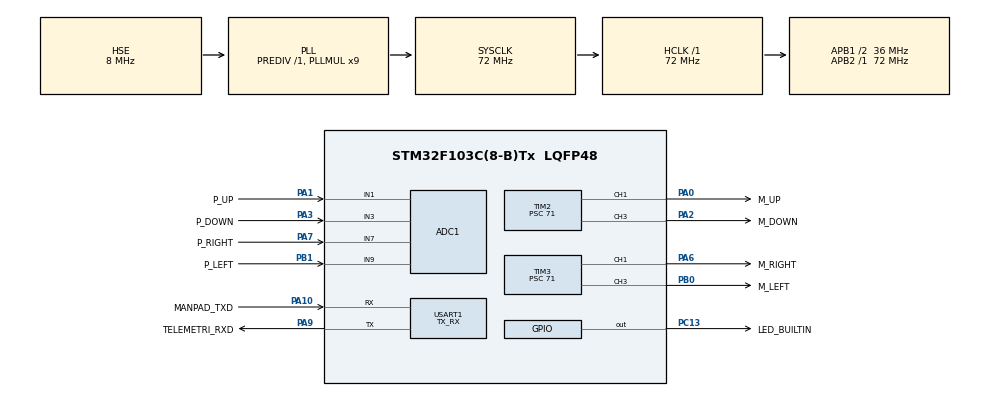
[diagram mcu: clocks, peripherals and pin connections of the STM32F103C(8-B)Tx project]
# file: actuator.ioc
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ADC1.Channel-0\#ChannelRegularConversion=ADC_CHANNEL_1
ADC1.Channel-5\#ChannelRegularConversion=ADC_CHANNEL_3
ADC1.Channel-6\#ChannelRegularConversion=ADC_CHANNEL_7
ADC1.Channel-7\#ChannelRegularConversion=ADC_CHANNEL_9
ADC1.ContinuousConvMode=DISABLE
ADC1.DataAlign=ADC_DATAALIGN_RIGHT
ADC1.DiscontinuousConvMode=DISABLE
ADC1.EnableAnalogWatchDog=false
ADC1.EnableRegularConversion=ENABLE
ADC1.ExternalTrigConv=ADC_EXTERNALTRIGCONV_T3_TRGO
ADC1.InjNumberOfConversion=0
ADC1.NbrOfConversion=4
ADC1.NbrOfConversionFlag=1
ADC1.Rank-0\#ChannelRegularConversion=1
ADC1.Rank-5\#ChannelRegularConversion=2
ADC1.Rank-6\#ChannelRegularConversion=3
ADC1.Rank-7\#ChannelRegularConversion=4
ADC1.SamplingTime-0\#ChannelRegularConversion=ADC_SAMPLETIME_41CYCLES_5
ADC1.SamplingTime-5\#ChannelRegularConversion=ADC_SAMPLETIME_41CYCLES_5
ADC1.SamplingTime-6\#ChannelRegularConversion=ADC_SAMPLETIME_41CYCLES_5
ADC1.SamplingTime-7\#ChannelRegularConversion=ADC_SAMPLETIME_41CYCLES_5
ADC1.ScanConvMode=ADC_SCAN_ENABLE
ADC1.master=1
Dma.ADC1.0.Direction=DMA_PERIPH_TO_MEMORY
Dma.ADC1.0.Instance=DMA1_Channel1
Dma.ADC1.0.MemDataAlignment=DMA_MDATAALIGN_HALFWORD
Dma.ADC1.0.MemInc=DMA_MINC_ENABLE
Dma.ADC1.0.Mode=DMA_CIRCULAR
Dma.ADC1.0.PeriphDataAlignment=DMA_PDATAALIGN_HALFWORD
Dma.ADC1.0.PeriphInc=DMA_PINC_DISABLE
Dma.ADC1.0.Priority=DMA_PRIORITY_MEDIUM
Dma.Request0=ADC1
Mcu.Family=STM32F1
Mcu.Name=STM32F103C(8-B)Tx
Mcu.Package=LQFP48
Mcu.UserConstants=SERVO_CENTER,1500;SERVO_MIN,1000;SERVO_MAX,2000;IWDG_1S,625;IWDG_10MS,6
NVIC.ADC1_2_IRQn=true\:3\:3\:true\:false\:true\:true
NVIC.DMA1_Channel1_IRQn=true\:0\:0\:false\:false\:true\:false
NVIC.PriorityGroup=NVIC_PRIORITYGROUP_2
NVIC.TIM3_IRQn=true\:2\:2\:true\:false\:true\:true
NVIC.USART1_IRQn=true\:0\:1\:false\:false\:true\:true
PA0-WKUP.GPIO_Label=M_UP
PA0-WKUP.GPIO_ModeDefaultPP=GPIO_MODE_AF_PP
PA0-WKUP.GPIO_Speed=GPIO_SPEED_FREQ_HIGH
PA0-WKUP.Signal=S_TIM2_CH1_ETR
PA1.GPIO_Label=P_UP
PA1.Signal=ADCx_IN1
PA10.GPIO_Label=MANPAD_TXD
PA10.GPIO_PuPd=GPIO_PULLUP
PA10.Mode=Asynchronous
PA10.Signal=USART1_RX
PA13.Mode=Serial_Wire
PA13.Signal=SYS_JTMS-SWDIO
PA14.Mode=Serial_Wire
PA14.Signal=SYS_JTCK-SWCLK
PA2.GPIO_Label=M_DOWN
PA2.GPIO_ModeDefaultPP=GPIO_MODE_AF_PP
PA2.GPIO_Speed=GPIO_SPEED_FREQ_HIGH
PA2.Signal=S_TIM2_CH3
PA3.GPIO_Label=P_DOWN
PA3.Signal=ADCx_IN3
PA6.GPIO_Label=M_RIGHT
PA6.GPIO_Speed=GPIO_SPEED_FREQ_HIGH
PA6.Signal=S_TIM3_CH1
PA7.GPIO_Label=P_RIGHT
PA7.Signal=ADCx_IN7
PA9.GPIO_Label=TELEMETRI_RXD
PA9.Mode=Asynchronous
PA9.Signal=USART1_TX
PB0.GPIO_Label=M_LEFT
PB0.GPIO_Speed=GPIO_SPEED_FREQ_HIGH
PB0.Signal=S_TIM3_CH3
PB1.GPIO_Label=P_LEFT
PB1.Signal=ADCx_IN9
PC13-TAMPER-RTC.GPIO_Label=LED_BUILTIN
PC13-TAMPER-RTC.GPIO_Speed=GPIO_SPEED_FREQ_HIGH
PC13-TAMPER-RTC.PinState=GPIO_PIN_SET
PC13-TAMPER-RTC.Signal=GPIO_Output
PD0-OSC_IN.Mode=HSE-External-Oscillator
PD0-OSC_IN.Signal=RCC_OSC_IN
PD1-OSC_OUT.Mode=HSE-External-Oscillator
PD1-OSC_OUT.Signal=RCC_OSC_OUT
ProjectManager.HeapSize=0x200
ProjectManager.StackSize=0x400
ProjectManager.TargetToolchain=TrueSTUDIO
RCC.ADCPresc=RCC_ADCPCLK2_DIV6
RCC.AHBFreq_Value=72000000
RCC.APB1CLKDivider=RCC_HCLK_DIV2
RCC.APB1Freq_Value=36000000
RCC.APB1TimFreq_Value=72000000
RCC.APB2Freq_Value=72000000
RCC.APB2TimFreq_Value=72000000
RCC.HCLKFreq_Value=72000000
RCC.PLLMUL=RCC_PLL_MUL9
RCC.PLLSourceVirtual=RCC_PLLSOURCE_HSE
RCC.SYSCLKFreq_VALUE=72000000
RCC.SYSCLKSource=RCC_SYSCLKSOURCE_PLLCLK
RCC.USBFreq_Value=48000000
RCC.USBPrescaler=RCC_USBCLKSOURCE_PLL_DIV1_5
SH.ADCx_IN1.0=ADC1_IN1,IN1
SH.ADCx_IN3.0=ADC1_IN3,IN3
SH.ADCx_IN7.0=ADC1_IN7,IN7
SH.ADCx_IN9.0=ADC1_IN9,IN9
SH.S_TIM2_CH1_ETR.0=TIM2_CH1,PWM Generation1 CH1
SH.S_TIM2_CH3.0=TIM2_CH3,PWM Generation3 CH3
SH.S_TIM3_CH1.0=TIM3_CH1,PWM Generation1 CH1
SH.S_TIM3_CH3.0=TIM3_CH3,PWM Generation3 CH3
TIM2.Channel-PWM\ Generation1\ CH1=TIM_CHANNEL_1
TIM2.Channel-PWM\ Generation2\ CH2=TIM_CHANNEL_2
TIM2.Channel-PWM\ Generation3\ CH3=TIM_CHANNEL_3
TIM2.Channel-PWM\ Generation4\ CH4=TIM_CHANNEL_4
TIM2.OCPolarity_1=TIM_OCPOLARITY_HIGH
TIM2.Period=19999
TIM2.Prescaler=71
TIM2.Pulse-PWM\ Generation1\ CH1=SERVO_CENTER
TIM2.Pulse-PWM\ Generation2\ CH2=SERVO_CENTER
TIM2.Pulse-PWM\ Generation3\ CH3=SERVO_CENTER
TIM2.Pulse-PWM\ Generation4\ CH4=SERVO_CENTER
TIM3.Channel-PWM\ Generation1\ CH1=TIM_CHANNEL_1
TIM3.Channel-PWM\ Generation3\ CH3=TIM_CHANNEL_3
TIM3.Period=19999
TIM3.Prescaler=71
TIM3.Pulse-PWM\ Generation1\ CH1=SERVO_CENTER
TIM3.Pulse-PWM\ Generation3\ CH3=SERVO_CENTER
TIM3.TIM_MasterOutputTrigger=TIM_TRGO_UPDATE
USART1.Mode=MODE_TX_RX
USART1.VirtualMode=VM_ASYNC
VP_TIM2_VS_ClockSourceINT.Mode=Internal
VP_TIM3_VS_ClockSourceINT.Mode=Internal
board=manpadActuatorDriver

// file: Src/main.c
/**
 ******************************************************************************
 * @file           : main.c
 * @brief          : Main program body
 ******************************************************************************
 ** This notice applies to any and all portions of this file
 * that are not between comment pairs USER CODE BEGIN and
 * USER CODE END. Other portions of this file, whether
 * inserted by the user or by software development tools
 * are owned by their respective copyright owners.
 *
 * COPYRIGHT(c) 2018 STMicroelectronics
 *
 * Redistribution and use in source and binary forms, with or without modification,
 * are permitted provided that the following conditions are met:
 *   1. Redistributions of source code must retain the above copyright notice,
 *      this list of conditions and the following disclaimer.
 *   2. Redistributions in binary form must reproduce the above copyright notice,
 *      this list of conditions and the following disclaimer in the documentation
 *      and/or other materials provided with the distribution.
 *   3. Neither the name of STMicroelectronics nor the names of its contributors
 *      may be used to endorse or promote products derived from this software
 *      without specific prior written permission.
 *
 * THIS SOFTWARE IS PROVIDED BY THE COPYRIGHT HOLDERS AND CONTRIBUTORS "AS IS"
 * AND ANY EXPRESS OR IMPLIED WARRANTIES, INCLUDING, BUT NOT LIMITED TO, THE
 * IMPLIED WARRANTIES OF MERCHANTABILITY AND FITNESS FOR A PARTICULAR PURPOSE ARE
 * DISCLAIMED. IN NO EVENT SHALL THE COPYRIGHT HOLDER OR CONTRIBUTORS BE LIABLE
 * FOR ANY DIRECT, INDIRECT, INCIDENTAL, SPECIAL, EXEMPLARY, OR CONSEQUENTIAL
 * DAMAGES (INCLUDING, BUT NOT LIMITED TO, PROCUREMENT OF SUBSTITUTE GOODS OR
 * SERVICES; LOSS OF USE, DATA, OR PROFITS; OR BUSINESS INTERRUPTION) HOWEVER
 * CAUSED AND ON ANY THEORY OF LIABILITY, WHETHER IN CONTRACT, STRICT LIABILITY,
 * OR TORT (INCLUDING NEGLIGENCE OR OTHERWISE) ARISING IN ANY WAY OUT OF THE USE
 * OF THIS SOFTWARE, EVEN IF ADVISED OF THE POSSIBILITY OF SUCH DAMAGE.
 *
 ******************************************************************************
 */
#include "main.h"
#include "stm32f1xx_hal.h"

/* USER CODE BEGIN Includes */
#include <string.h>
#include <stdlib.h>
/* USER CODE END Includes */

ADC_HandleTypeDef hadc1;
DMA_HandleTypeDef hdma_adc1;

TIM_HandleTypeDef htim2;
TIM_HandleTypeDef htim3;

UART_HandleTypeDef huart1;

/* USER CODE BEGIN PV */
/* Private variables ---------------------------------------------------------*/
/* TODO Private Variables */
#define USE_RAW_ADC						1

#define DEBUG							0
#if DEBUG
#define CMD_DEBUG						1
#endif	//if DEBUG

#define CMD_HEADER_CHAR					'$'
#define CMD_SEPARATOR_CHAR				','
#define CMD_TERMINATOR_CHAR				'*'
#define CMD_TIMEOUT						1000

#define UART_BUFSIZE					1024

typedef struct
{
	char buffer[UART_BUFSIZE];
	volatile uint16_t head;
	volatile uint16_t tail;
	uint16_t size;
} Ring_Buffer_t;

Ring_Buffer_t rx1Buffer = { { 0 }, 0, 0, UART_BUFSIZE };
//char rx1Buffer[UART_BUFSIZE];
char tx1Buffer[UART_BUFSIZE];
#if DEBUG
char tx2Buffer[UART_BUFSIZE];
#endif	//if DEBUG

typedef enum
{
	M_ROLL_UP,
	M_ROLL_DOWN,
	M_PITCH_RIGHT,
	M_PITCH_LEFT
} MOTOR_NAME_e;

typedef struct
{
	MOTOR_NAME_e type;
	uint16_t pwmValue;
	/* pwm value */
	uint16_t pLow;
	uint16_t pZero;
	uint16_t pHigh;
	int16_t pDegMax;
	int16_t pDegMin;
	/* adc value */
	uint16_t aLow;
	uint16_t aZero;
	uint16_t aHigh;
} MOTOR_ID_t;

MOTOR_ID_t mUp, mDown, mRight, mLeft;

int16_t mCmd[2] = { 0, 0 };
int16_t mCmdConstrain[2] = { 0, 0 };
uint16_t mPos[4];

volatile uint16_t rx1Length = 0;
volatile ITStatus rx1Ready = RESET;
volatile uint16_t uart1RxLength = 0;
volatile FlagStatus newAdcData = RESET;
volatile FlagStatus startSendLogData = RESET;
volatile uint16_t adcValue[4];

/* USER CODE END PV */

void SystemClock_Config(void);
static void MX_GPIO_Init(void);
static void MX_DMA_Init(void);
static void MX_TIM2_Init(void);
static void MX_USART1_UART_Init(void);
static void MX_ADC1_Init(void);
static void MX_TIM3_Init(void);

void HAL_TIM_MspPostInit(TIM_HandleTypeDef *htim);

/* USER CODE BEGIN PFP */
/* Private function prototypes -----------------------------------------------*/
/* TODO Private Functions here */
#define constrain(amt,low,high) ((amt)<(low)?(low):((amt)>(high)?(high):(amt)))

static uint8_t parseCommand(char *buf);
static int mapInt(int x, int in_min, int in_max, int out_min, int out_max);
#if USE_RAW_ADC==0
static int16_t adcMapping(MOTOR_ID_t * mtr, uint16_t value);
#endif	//if USE_RAW_ADC==0

static void ring_buffer_write(Ring_Buffer_t *buffer, char c);
static char ring_buffer_read(Ring_Buffer_t *buffer);

static void motorInit();
static void motorSet(int16_t roll, int16_t pitch);
static void motorSetEach(MOTOR_ID_t *mtr, int16_t val);
#if USE_RAW_ADC==0
static void motorGetPos(float *pos);
#endif	//if USE_RAW_ADC==0

//static void delayIwdg(uint32_t _delayTime);
/* USER CODE END PFP */

int main(void)
{

	/* MCU Configuration----------------------------------------------------------*/

	/* Reset of all peripherals, Initializes the Flash interface and the Systick. */
	HAL_Init();

	/* Configure the system clock */
	SystemClock_Config();

	/* Initialize all configured peripherals */
	MX_GPIO_Init();
	MX_DMA_Init();
	MX_TIM2_Init();
	MX_USART1_UART_Init();
	MX_ADC1_Init();
	MX_TIM3_Init();
	/* USER CODE BEGIN 2 */
	/* TODO Functions Initialization here */

#if DEBUG
//	delayIwdg(500);
	HAL_Delay(500);
//	printf("\x1b[2J\x1b[H===START===\r\n");
//	printf("===START===");
#endif	//if DEBUG

	__HAL_UART_ENABLE_IT(&huart1, UART_IT_RXNE);

	motorInit();

	/* motor Roll init */
	HAL_TIM_PWM_Start(&htim2, TIM_CHANNEL_1);	//UP FIN
	HAL_TIM_PWM_Start(&htim2, TIM_CHANNEL_3);	//DOWN FIN
	/* motor Pitch init */
	HAL_TIM_PWM_Start(&htim3, TIM_CHANNEL_1);	//RIGHT FIN
	HAL_TIM_PWM_Start(&htim3, TIM_CHANNEL_3);	//LEFT FIN

	motorSet(0, 0);

	/* init adc-timer based */
	HAL_TIM_Base_Start_IT(&htim3);
	HAL_ADC_Start_DMA(&hadc1, (uint32_t *) adcValue, 4);

	HAL_GPIO_WritePin(LED_BUILTIN_GPIO_Port, LED_BUILTIN_Pin, RESET);
	/* USER CODE END 2 */

	/* Infinite loop */
	/* USER CODE BEGIN WHILE */
	char cmdIn[UART_BUFSIZE];
	uint8_t startSaveBuffer = 0;
	uint16_t cmdInIndex = 0;
	char c;

	uint32_t millis = 0;
	uint32_t cmdInactiveTimer = 0;
#if DEBUG
	uint32_t updateTimer = 0;
#endif	//if DEBUG

	while (1)
	{

		/* USER CODE END WHILE */

		/* USER CODE BEGIN 3 */
		/* TODO Begin Loop */
		millis = HAL_GetTick();
		if (cmdInactiveTimer && millis >= cmdInactiveTimer)
		{
			cmdInactiveTimer = 0;

			mCmd[0] = 0;
			mCmd[1] = 0;
			mCmdConstrain[0] = 0;
			mCmdConstrain[1] = 0;
		}
#if DEBUG
		if (millis >= updateTimer)
		{
			updateTimer = millis + 1000;

//			printf("adcVal= %d %d %d %d\r\n", adcValue[0], adcValue[1], adcValue[2], adcValue[3]);
//			printf("$%d,%d*\r\n", mCmd[0], mCmd[1]);
		}
#endif	//if DEBUG

		if (rx1Ready == SET)
		{
			/* save rxBuffer to tem buffer */
			while (rx1Buffer.head != rx1Buffer.tail)
			{
				c = ring_buffer_read(&rx1Buffer);
				if (c == CMD_HEADER_CHAR)
				{
					memset(cmdIn, 0, UART_BUFSIZE);
					startSaveBuffer = 1;
					cmdInIndex = 0;
				}
				if (startSaveBuffer)
				{
					cmdIn[cmdInIndex++] = c;
					if (c == CMD_TERMINATOR_CHAR)
						break;
				}
			}
			rx1Ready = RESET;

			/* parse incoming command */
			if (parseCommand(cmdIn))
			{
				LED_BUILTIN_GPIO_Port->ODR ^= LED_BUILTIN_Pin;
				cmdInactiveTimer = millis + CMD_TIMEOUT;
			}
		}

		if (startSendLogData == SET)
		{
			/* update motor */
			motorSet(mCmdConstrain[0], mCmdConstrain[1]);

			/* TODO re-format adcValue to degrees */
#if DEBUG
			sprintf(tx1Buffer, "$%.1f,%.1f,\t%d,%d,%d,%d,\t%d,%d,%d,%d*\r\n", (float) mCmd[0] / 10,
					(float) mCmd[1] / 10, mUp.pwmValue, mRight.pwmValue, mDown.pwmValue,
					mLeft.pwmValue, adcValue[0], adcValue[2], adcValue[1], adcValue[3]);
#else
#if USE_RAW_ADC
			sprintf(tx1Buffer, "$%.1f,%.1f,%d,%d,%d,%d,%d,%d,%d,%d*\r\n", (float) mCmd[0] / 10,
					(float) mCmd[1] / 10, mUp.pwmValue, mRight.pwmValue, mDown.pwmValue,
					mLeft.pwmValue, adcValue[0], adcValue[2], adcValue[1], adcValue[3]);
#else
			float _f[4];
			motorGetPos(_f);
			/* format data */
			sprintf(tx1Buffer, "$%.1f,%.1f,%d,%d,%d,%d,%.1f,%.1f,%.1f,%.1f*\r\n",
					(float) mCmd[0] / 10, (float) mCmd[1] / 10, mUp.pwmValue, mDown.pwmValue,
					mRight.pwmValue, mLeft.pwmValue, _f[0], _f[1], _f[2], _f[3]);
#endif	//if USE_RAW_ADC
#endif	//if DEBUG

			HAL_UART_Transmit_IT(&huart1, (uint8_t *) tx1Buffer, strlen(tx1Buffer));

			startSendLogData = RESET;
		}

		/* TODO End Loop */

	}
	/* USER CODE END 3 */

}

void SystemClock_Config(void)
{

	RCC_OscInitTypeDef RCC_OscInitStruct;
	RCC_ClkInitTypeDef RCC_ClkInitStruct;
	RCC_PeriphCLKInitTypeDef PeriphClkInit;

	/**Initializes the CPU, AHB and APB busses clocks
	 */
	RCC_OscInitStruct.OscillatorType = RCC_OSCILLATORTYPE_HSE;
	RCC_OscInitStruct.HSEState = RCC_HSE_ON;
	RCC_OscInitStruct.HSEPredivValue = RCC_HSE_PREDIV_DIV1;
	RCC_OscInitStruct.HSIState = RCC_HSI_ON;
	RCC_OscInitStruct.PLL.PLLState = RCC_PLL_ON;
	RCC_OscInitStruct.PLL.PLLSource = RCC_PLLSOURCE_HSE;
	RCC_OscInitStruct.PLL.PLLMUL = RCC_PLL_MUL9;
	if (HAL_RCC_OscConfig(&RCC_OscInitStruct) != HAL_OK)
	{
		_Error_Handler(__FILE__, __LINE__);
	}

	/**Initializes the CPU, AHB and APB busses clocks
	 */
	RCC_ClkInitStruct.ClockType = RCC_CLOCKTYPE_HCLK | RCC_CLOCKTYPE_SYSCLK | RCC_CLOCKTYPE_PCLK1
			| RCC_CLOCKTYPE_PCLK2;
	RCC_ClkInitStruct.SYSCLKSource = RCC_SYSCLKSOURCE_PLLCLK;
	RCC_ClkInitStruct.AHBCLKDivider = RCC_SYSCLK_DIV1;
	RCC_ClkInitStruct.APB1CLKDivider = RCC_HCLK_DIV2;
	RCC_ClkInitStruct.APB2CLKDivider = RCC_HCLK_DIV1;

	if (HAL_RCC_ClockConfig(&RCC_ClkInitStruct, FLASH_LATENCY_2) != HAL_OK)
	{
		_Error_Handler(__FILE__, __LINE__);
	}

	PeriphClkInit.PeriphClockSelection = RCC_PERIPHCLK_ADC;
	PeriphClkInit.AdcClockSelection = RCC_ADCPCLK2_DIV6;
	if (HAL_RCCEx_PeriphCLKConfig(&PeriphClkInit) != HAL_OK)
	{
		_Error_Handler(__FILE__, __LINE__);
	}

	/**Configure the Systick interrupt time
	 */
	HAL_SYSTICK_Config(HAL_RCC_GetHCLKFreq() / 1000);

	/**Configure the Systick
	 */
	HAL_SYSTICK_CLKSourceConfig(SYSTICK_CLKSOURCE_HCLK);

	/* SysTick_IRQn interrupt configuration */
	HAL_NVIC_SetPriority(SysTick_IRQn, 0, 0);
}

/* ADC1 init function */
static void MX_ADC1_Init(void)
{

	ADC_ChannelConfTypeDef sConfig;

	/**Common config
	 */
	hadc1.Instance = ADC1;
	hadc1.Init.ScanConvMode = ADC_SCAN_ENABLE;
	hadc1.Init.ContinuousConvMode = DISABLE;
	hadc1.Init.DiscontinuousConvMode = DISABLE;
	hadc1.Init.ExternalTrigConv = ADC_EXTERNALTRIGCONV_T3_TRGO;
	hadc1.Init.DataAlign = ADC_DATAALIGN_RIGHT;
	hadc1.Init.NbrOfConversion = 4;
	if (HAL_ADC_Init(&hadc1) != HAL_OK)
	{
		_Error_Handler(__FILE__, __LINE__);
	}

	/**Configure Regular Channel
	 */
	sConfig.Channel = ADC_CHANNEL_1;
	sConfig.Rank = ADC_REGULAR_RANK_1;
	sConfig.SamplingTime = ADC_SAMPLETIME_41CYCLES_5;
	if (HAL_ADC_ConfigChannel(&hadc1, &sConfig) != HAL_OK)
	{
		_Error_Handler(__FILE__, __LINE__);
	}

	/**Configure Regular Channel
	 */
	sConfig.Channel = ADC_CHANNEL_3;
	sConfig.Rank = ADC_REGULAR_RANK_2;
	if (HAL_ADC_ConfigChannel(&hadc1, &sConfig) != HAL_OK)
	{
		_Error_Handler(__FILE__, __LINE__);
	}

	/**Configure Regular Channel
	 */
	sConfig.Channel = ADC_CHANNEL_7;
	sConfig.Rank = ADC_REGULAR_RANK_3;
	if (HAL_ADC_ConfigChannel(&hadc1, &sConfig) != HAL_OK)
	{
		_Error_Handler(__FILE__, __LINE__);
	}

	/**Configure Regular Channel
	 */
	sConfig.Channel = ADC_CHANNEL_9;
	sConfig.Rank = ADC_REGULAR_RANK_4;
	if (HAL_ADC_ConfigChannel(&hadc1, &sConfig) != HAL_OK)
	{
		_Error_Handler(__FILE__, __LINE__);
	}

}

/* TIM2 init function */
static void MX_TIM2_Init(void)
{

	TIM_ClockConfigTypeDef sClockSourceConfig;
	TIM_MasterConfigTypeDef sMasterConfig;
	TIM_OC_InitTypeDef sConfigOC;

	htim2.Instance = TIM2;
	htim2.Init.Prescaler = 71;
	htim2.Init.CounterMode = TIM_COUNTERMODE_UP;
	htim2.Init.Period = 19999;
	htim2.Init.ClockDivision = TIM_CLOCKDIVISION_DIV1;
	htim2.Init.AutoReloadPreload = TIM_AUTORELOAD_PRELOAD_DISABLE;
	if (HAL_TIM_Base_Init(&htim2) != HAL_OK)
	{
		_Error_Handler(__FILE__, __LINE__);
	}

	sClockSourceConfig.ClockSource = TIM_CLOCKSOURCE_INTERNAL;
	if (HAL_TIM_ConfigClockSource(&htim2, &sClockSourceConfig) != HAL_OK)
	{
		_Error_Handler(__FILE__, __LINE__);
	}

	if (HAL_TIM_PWM_Init(&htim2) != HAL_OK)
	{
		_Error_Handler(__FILE__, __LINE__);
	}

	sMasterConfig.MasterOutputTrigger = TIM_TRGO_RESET;
	sMasterConfig.MasterSlaveMode = TIM_MASTERSLAVEMODE_DISABLE;
	if (HAL_TIMEx_MasterConfigSynchronization(&htim2, &sMasterConfig) != HAL_OK)
	{
		_Error_Handler(__FILE__, __LINE__);
	}

	sConfigOC.OCMode = TIM_OCMODE_PWM1;
	sConfigOC.Pulse = SERVO_CENTER;
	sConfigOC.OCPolarity = TIM_OCPOLARITY_HIGH;
	sConfigOC.OCFastMode = TIM_OCFAST_DISABLE;
	if (HAL_TIM_PWM_ConfigChannel(&htim2, &sConfigOC, TIM_CHANNEL_1) != HAL_OK)
	{
		_Error_Handler(__FILE__, __LINE__);
	}

	if (HAL_TIM_PWM_ConfigChannel(&htim2, &sConfigOC, TIM_CHANNEL_3) != HAL_OK)
	{
		_Error_Handler(__FILE__, __LINE__);
	}

	HAL_TIM_MspPostInit(&htim2);

}

/* TIM3 init function */
static void MX_TIM3_Init(void)
{

	TIM_ClockConfigTypeDef sClockSourceConfig;
	TIM_MasterConfigTypeDef sMasterConfig;
	TIM_OC_InitTypeDef sConfigOC;

	htim3.Instance = TIM3;
	htim3.Init.Prescaler = 71;
	htim3.Init.CounterMode = TIM_COUNTERMODE_UP;
	htim3.Init.Period = 19999;
	htim3.Init.ClockDivision = TIM_CLOCKDIVISION_DIV1;
	htim3.Init.AutoReloadPreload = TIM_AUTORELOAD_PRELOAD_DISABLE;
	if (HAL_TIM_Base_Init(&htim3) != HAL_OK)
	{
		_Error_Handler(__FILE__, __LINE__);
	}

	sClockSourceConfig.ClockSource = TIM_CLOCKSOURCE_INTERNAL;
	if (HAL_TIM_ConfigClockSource(&htim3, &sClockSourceConfig) != HAL_OK)
	{
		_Error_Handler(__FILE__, __LINE__);
	}

	if (HAL_TIM_PWM_Init(&htim3) != HAL_OK)
	{
		_Error_Handler(__FILE__, __LINE__);
	}

	sMasterConfig.MasterOutputTrigger = TIM_TRGO_UPDATE;
	sMasterConfig.MasterSlaveMode = TIM_MASTERSLAVEMODE_DISABLE;
	if (HAL_TIMEx_MasterConfigSynchronization(&htim3, &sMasterConfig) != HAL_OK)
	{
		_Error_Handler(__FILE__, __LINE__);
	}

	sConfigOC.OCMode = TIM_OCMODE_PWM1;
	sConfigOC.Pulse = SERVO_CENTER;
	sConfigOC.OCPolarity = TIM_OCPOLARITY_HIGH;
	sConfigOC.OCFastMode = TIM_OCFAST_DISABLE;
	if (HAL_TIM_PWM_ConfigChannel(&htim3, &sConfigOC, TIM_CHANNEL_1) != HAL_OK)
	{
		_Error_Handler(__FILE__, __LINE__);
	}

	if (HAL_TIM_PWM_ConfigChannel(&htim3, &sConfigOC, TIM_CHANNEL_3) != HAL_OK)
	{
		_Error_Handler(__FILE__, __LINE__);
	}

	HAL_TIM_MspPostInit(&htim3);

}

/* USART1 init function */
static void MX_USART1_UART_Init(void)
{

	huart1.Instance = USART1;
	huart1.Init.BaudRate = 115200;
	huart1.Init.WordLength = UART_WORDLENGTH_8B;
	huart1.Init.StopBits = UART_STOPBITS_1;
	huart1.Init.Parity = UART_PARITY_NONE;
	huart1.Init.Mode = UART_MODE_TX_RX;
	huart1.Init.HwFlowCtl = UART_HWCONTROL_NONE;
	huart1.Init.OverSampling = UART_OVERSAMPLING_16;
	if (HAL_UART_Init(&huart1) != HAL_OK)
	{
		_Error_Handler(__FILE__, __LINE__);
	}

}

static void MX_DMA_Init(void)
{
	/* DMA controller clock enable */
	__HAL_RCC_DMA1_CLK_ENABLE()
	;

	/* DMA interrupt init */
	/* DMA1_Channel1_IRQn interrupt configuration */
	HAL_NVIC_SetPriority(DMA1_Channel1_IRQn, 0, 0);
	HAL_NVIC_EnableIRQ(DMA1_Channel1_IRQn);

}

/** Configure pins as
 * Analog
 * Input
 * Output
 * EVENT_OUT
 * EXTI
 * Free pins are configured automatically as Analog (this feature is enabled through
 * the Code Generation settings)
 */
static void MX_GPIO_Init(void)
{

	GPIO_InitTypeDef GPIO_InitStruct;

	/* GPIO Ports Clock Enable */
	__HAL_RCC_GPIOC_CLK_ENABLE()
	;
	__HAL_RCC_GPIOD_CLK_ENABLE()
	;
	__HAL_RCC_GPIOA_CLK_ENABLE()
	;
	__HAL_RCC_GPIOB_CLK_ENABLE()
	;

	/*Configure GPIO pin Output Level */
	HAL_GPIO_WritePin(LED_BUILTIN_GPIO_Port, LED_BUILTIN_Pin, GPIO_PIN_SET);

	/*Configure GPIO pin : LED_BUILTIN_Pin */
	GPIO_InitStruct.Pin = LED_BUILTIN_Pin;
	GPIO_InitStruct.Mode = GPIO_MODE_OUTPUT_PP;
	GPIO_InitStruct.Pull = GPIO_NOPULL;
	GPIO_InitStruct.Speed = GPIO_SPEED_FREQ_HIGH;
	HAL_GPIO_Init(LED_BUILTIN_GPIO_Port, &GPIO_InitStruct);

	/*Configure GPIO pins : PC14 PC15 */
	GPIO_InitStruct.Pin = GPIO_PIN_14 | GPIO_PIN_15;
	GPIO_InitStruct.Mode = GPIO_MODE_ANALOG;
	HAL_GPIO_Init(GPIOC, &GPIO_InitStruct);

	/*Configure GPIO pins : PA4 PA5 PA8 PA11
	 PA12 PA15 */
	GPIO_InitStruct.Pin = GPIO_PIN_4 | GPIO_PIN_5 | GPIO_PIN_8 | GPIO_PIN_11 | GPIO_PIN_12
			| GPIO_PIN_15;
	GPIO_InitStruct.Mode = GPIO_MODE_ANALOG;
	HAL_GPIO_Init(GPIOA, &GPIO_InitStruct);

	/*Configure GPIO pins : PB2 PB10 PB11 PB12
	 PB13 PB14 PB15 PB4
	 PB5 PB6 PB7 PB8
	 PB9 */
	GPIO_InitStruct.Pin = GPIO_PIN_2 | GPIO_PIN_10 | GPIO_PIN_11 | GPIO_PIN_12 | GPIO_PIN_13
			| GPIO_PIN_14 | GPIO_PIN_15 | GPIO_PIN_4 | GPIO_PIN_5 | GPIO_PIN_6 | GPIO_PIN_7
			| GPIO_PIN_8 | GPIO_PIN_9;
	GPIO_InitStruct.Mode = GPIO_MODE_ANALOG;
	HAL_GPIO_Init(GPIOB, &GPIO_InitStruct);

}

/* USER CODE BEGIN 4 */
/* TODO Non-hardware related Functions */

static uint8_t parseCommand(char *buf)
{
	const uint8_t constVal = 16;
	char fTem[constVal];
	char *pointer = buf;
	float _f;
	uint16_t i, pos;
	uint16_t roll = 0;

	/*
	 * author miftakur
	 *
	 * data format: $CMD,[ROLL_ANGLE],[PITCH_ANGLE]*
	 * example:
	 * $CMD,0,0*
	 * $CMD,14.0,-15.0*
	 * $CMD,-14.0,15.0*
	 * $CMD,-14.0,-15.0*
	 *
	 */

	/* ROLL_ANGLE */
	pointer += 5;
	memset(fTem, 0, constVal);
	pos = strlen(pointer);
	if (pos > 0)
	{
		for ( i = 0; i < pos; i++ )
		{
			if (*pointer != CMD_SEPARATOR_CHAR)
				fTem[i] = *pointer++;
			else
				break;
		}
		/* not found */
		if (i >= pos)
			return 0;
	}
	else
		return 0;
	_f = atof(fTem);
	roll = (int16_t) (_f * 10);

	/* PITCH_ANGLE */
	pointer++;
	memset(fTem, 0, constVal);
	pos = strlen(pointer);
	if (pos > 0)
	{
		for ( i = 0; i < pos; i++ )
		{
			if (*pointer != CMD_TERMINATOR_CHAR)
				fTem[i] = *pointer++;
			else
				break;
		}
		/* not found */
		if (i >= pos)
			return 0;
	}
	else
		return 0;
	_f = atof(fTem);
	mCmd[1] = (int16_t) (_f * 10);
	mCmd[0] = roll;

	/* add constrain to input */
	int16_t min, max;

	/* roll angle */
	if (mUp.pDegMin >= mDown.pDegMin)
		min = mUp.pDegMin;
	else
		min = mDown.pDegMin;
	if (mUp.pDegMax >= mDown.pDegMax)
		max = mDown.pDegMax;
	else
		max = mUp.pDegMax;

	mCmdConstrain[0] = constrain(mCmd[0], min, max);

	/* pitch angle */
	if (mRight.pDegMin >= mLeft.pDegMin)
		min = mRight.pDegMin;
	else
		min = mLeft.pDegMin;
	if (mRight.pDegMax >= mLeft.pDegMax)
		max = mLeft.pDegMax;
	else
		max = mRight.pDegMax;

	mCmdConstrain[1] = constrain(mCmd[1], min, max);

	return 1;
}

static uint16_t mapPwm(MOTOR_ID_t *mtr, int16_t x)
{
	int inMin, inMax, inZero;
	int outMin, outMax, outZero;
	int mapVal;

	outMin = mtr->pLow;
	outMax = mtr->pHigh;
	inZero = 0;
	inMin = mtr->pDegMin;
	inMax = mtr->pDegMax;
	outZero = mtr->pZero;

	x = constrain(x, inMin, inMax);

	if (mtr->type == M_PITCH_RIGHT)
		x = 0 - x;

	if (x < inZero)
		mapVal = constrain(mapInt((int ) x, inMin, inZero, outMin, outZero), outMin, outZero);
	else
		mapVal = constrain(mapInt((int ) x, inZero, inMax, outZero, outMax), outZero, outMax);

	return (uint16_t) mapVal;
}

static int mapInt(int x, int in_min, int in_max, int out_min, int out_max)
{
	return ((x - in_min) * (out_max - out_min) / (in_max - in_min)) + out_min;
}

#if USE_RAW_ADC==0
static int16_t adcMapping(MOTOR_ID_t * mtr, uint16_t value)
{
	int ret = 0;
	int inMin, inMax, inZero;
	int outMin, outMax;
	int leftDiff = 0;

	inMin = mtr->aLow;
	inMax = mtr->aHigh;
	inZero = mtr->aZero;
	outMin = mtr->pDegMin;
	outMax = mtr->pDegMax;

	if (mtr->type == M_PITCH_RIGHT)
	{
		leftDiff = abs(inZero - value);

		if (value < inZero)
		value = inZero + leftDiff;
		else if (value > inZero)
		value = inZero - leftDiff;
	}

	if (inMin > inMax)
	value = constrain(value, inMax, inMin);
	else
	value = constrain(value, inMin, inMax);

	/* divide into 2 region, to accommodate un-linear between low-zero & zero-high */
	if (value < inZero)
	ret = mapInt((int) value, inMin, inZero, outMin, 0);
	else
	ret = mapInt((int) value, inZero, inMax, 0, outMax);

	return (int16_t) ret;
}
#endif	//if USE_RAW_ADC==0

static void ring_buffer_write(Ring_Buffer_t *buffer, char c)
{
	uint16_t i = (buffer->head + 1) % buffer->size;

	if (i != buffer->tail)
	{
		buffer->buffer[buffer->head] = c;
		buffer->head = i;
	}
}

static char ring_buffer_read(Ring_Buffer_t *buffer)
{
	if (buffer->head == buffer->tail)
		return -1;
	else
	{
		char c = buffer->buffer[buffer->tail];
		buffer->tail = (buffer->tail + 1) % buffer->size;

		return c;
	}
}

/* TODO hardware related functions */
static void motorInit()
{
	mUp.type = M_ROLL_UP;
	mUp.pZero = 1130;
	mUp.pLow = 1100;
	mUp.pHigh = 1230;
	mUp.pwmValue = mUp.pZero;
	mUp.aZero = 3370;
	mUp.aHigh = 3000;
	mUp.aLow = 3460;
	mUp.pDegMax = 100;
	mUp.pDegMin = -50;

	mDown.type = M_ROLL_DOWN;
	mDown.pZero = 1120;
	mDown.pLow = 1000;
	mDown.pHigh = 1260;
	mDown.pwmValue = mDown.pZero;
	mDown.aZero = 3480;
	mDown.aHigh = 2960;
	mDown.aLow = 3820;
	mDown.pDegMax = 150;
	mDown.pDegMin = -100;

	mRight.type = M_PITCH_RIGHT;
	mRight.pZero = 1200;
	mRight.pLow = 1050;
	mRight.pHigh = 1350;
	mRight.pwmValue = mRight.pZero;
	mRight.aZero = 3175;
	mRight.aHigh = 2590;
	mRight.aLow = 3670;
	mRight.pDegMax = 150;
	mRight.pDegMin = -150;

	mLeft.type = M_PITCH_LEFT;
	mLeft.pZero = 1130;
	mLeft.pLow = 1000;
	mLeft.pHigh = 1280;
	mLeft.pwmValue = mLeft.pZero;
	mLeft.aZero = 3460;
	mLeft.aHigh = 2840;
	mLeft.aLow = 3820;
	mLeft.pDegMax = 150;
	mLeft.pDegMin = -120;
}

static void motorSet(int16_t roll, int16_t pitch)
{
	motorSetEach(&mUp, roll);
	motorSetEach(&mDown, roll);
	motorSetEach(&mRight, pitch);
	motorSetEach(&mLeft, pitch);
}

static void motorSetEach(MOTOR_ID_t *mtr, int16_t val)
{
	mtr->pwmValue = mapPwm(mtr, val);

	if (mtr->type == M_ROLL_UP)
		htim2.Instance->CCR1 = mtr->pwmValue;
	else if (mtr->type == M_ROLL_DOWN)
		htim2.Instance->CCR3 = mtr->pwmValue;
	else if (mtr->type == M_PITCH_RIGHT)
		htim3.Instance->CCR1 = mtr->pwmValue;
	else if (mtr->type == M_PITCH_LEFT)
		htim3.Instance->CCR3 = mtr->pwmValue;

}

#if USE_RAW_ADC==0
static void motorGetPos(float *pos)
{
	float *tem = pos;

	*tem++ = (float) adcMapping(&mUp, adcValue[0]) / 10.0f;
	*tem++ = (float) adcMapping(&mDown, adcValue[1]) / 10.0f;
	*tem++ = (float) adcMapping(&mRight, adcValue[2]) / 10.0f;
	*tem++ = (float) adcMapping(&mLeft, adcValue[3]) / 10.0f;
}
#endif	//if USE_RAW_ADC==0

void HAL_TIM_PeriodElapsedCallback(TIM_HandleTypeDef *htim)
{
	if (htim->Instance == TIM3)
	{
		/* begin sending log data */
		startSendLogData = SET;
	}
}

void usart1_callback_IT()
{
	uint32_t isrflags = READ_REG(huart1.Instance->SR);
	uint32_t cr1its = READ_REG(huart1.Instance->CR1);
	char c;

	/* RXNE handler */
	if ((isrflags & USART_SR_RXNE) != RESET)
	{
		c = (char) (huart1.Instance->DR & (uint8_t) 0x00FF);
		if (c == CMD_TERMINATOR_CHAR)
			rx1Ready = SET;

		ring_buffer_write(&rx1Buffer, c);
	}

	/* UART in mode Transmitter ------------------------------------------------*/
	if (((isrflags & USART_SR_TXE) != RESET) && ((cr1its & USART_CR1_TXEIE) != RESET))
	{
		/* Check that a Tx process is ongoing */
		if (huart1.gState == HAL_UART_STATE_BUSY_TX)
		{
			huart1.Instance->DR = (uint8_t) (*huart1.pTxBuffPtr++ & (uint8_t) 0x00FF);

			if (--huart1.TxXferCount == 0U)
			{
				/* Disable the UART Transmit Complete Interrupt */
				__HAL_UART_DISABLE_IT(&huart1, UART_IT_TXE);

				/* Enable the UART Transmit Complete Interrupt */
				__HAL_UART_ENABLE_IT(&huart1, UART_IT_TC);
			}
		}
	}

	/* UART in mode Transmitter end --------------------------------------------*/
	if (((isrflags & USART_SR_TC) != RESET) && ((cr1its & USART_CR1_TCIE) != RESET))
	{
		/* Disable the UART Transmit Complete Interrupt */
		__HAL_UART_DISABLE_IT(&huart1, UART_IT_TC);

		/* Tx process is ended, restore huart->gState to Ready */
		huart1.gState = HAL_UART_STATE_READY;
		//		HAL_UART_TxCpltCallback(huart1);
	}

	/* ------------------------------------------------------------ */
	/* Other USART1 interrupts handler can go here ...             */
	/* UART in mode Transmitter ------------------------------------------------*/
}

//static void delayIwdg(uint32_t _delayTime)
//{
//	const uint32_t iwdg_reset_time = 100;
//
//	HAL_IWDG_Refresh(&hiwdg);
//	if (_delayTime <= iwdg_reset_time)
//		HAL_Delay(_delayTime);
//	else
//	{
//		while (_delayTime > iwdg_reset_time)
//		{
//			HAL_Delay(iwdg_reset_time);
//			HAL_IWDG_Refresh(&hiwdg);
//			_delayTime -= iwdg_reset_time;
//		}
//		HAL_Delay(_delayTime);
//	}
//	HAL_IWDG_Refresh(&hiwdg);
//}
/* TODO End */
/* USER CODE END 4 */

void _Error_Handler(char *file, int line)
{
	while (1)
	{
	}
}

/************************ (C) COPYRIGHT STMicroelectronics *****END OF FILE****/
